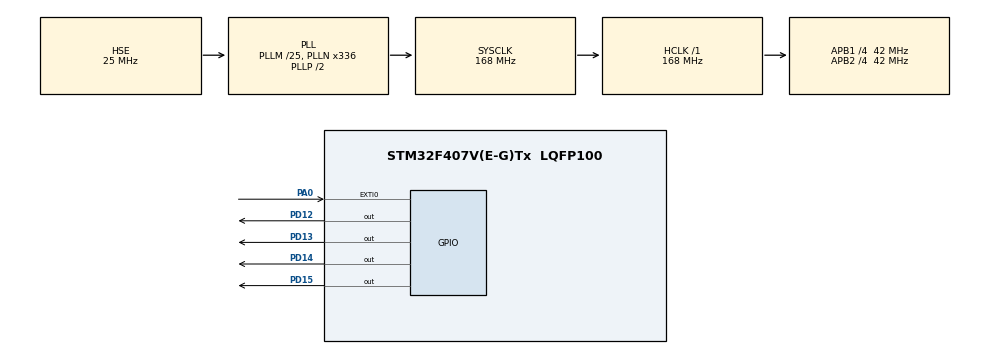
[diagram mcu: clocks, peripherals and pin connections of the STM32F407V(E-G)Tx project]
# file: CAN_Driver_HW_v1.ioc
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Mcu.Family=STM32F4
Mcu.Name=STM32F407V(E-G)Tx
Mcu.Package=LQFP100
NVIC.EXTI0_IRQn=true\:0\:1\:false\:false\:true\:true\:true
NVIC.PriorityGroup=NVIC_PRIORITYGROUP_0
PA0-WKUP.Signal=GPXTI0
PD12.Signal=GPIO_Output
PD13.Signal=GPIO_Output
PD14.Signal=GPIO_Output
PD15.Signal=GPIO_Output
PH0-OSC_IN.Mode=HSE-External-Oscillator
PH0-OSC_IN.Signal=RCC_OSC_IN
PH1-OSC_OUT.Mode=HSE-External-Oscillator
PH1-OSC_OUT.Signal=RCC_OSC_OUT
ProjectManager.HeapSize=0x200
ProjectManager.StackSize=0x400
ProjectManager.TargetToolchain=STM32CubeIDE
RCC.48MHZClocksFreq_Value=84000000
RCC.AHBFreq_Value=168000000
RCC.APB1CLKDivider=RCC_HCLK_DIV4
RCC.APB1Freq_Value=42000000
RCC.APB1TimFreq_Value=84000000
RCC.APB2CLKDivider=RCC_HCLK_DIV4
RCC.APB2Freq_Value=42000000
RCC.APB2TimFreq_Value=84000000
RCC.CortexFreq_Value=168000000
RCC.HCLKFreq_Value=168000000
RCC.HSE_VALUE=25000000
RCC.HSI_VALUE=16000000
RCC.LSE_VALUE=32768
RCC.PLLM=25
RCC.PLLN=336
RCC.PLLSourceVirtual=RCC_PLLSOURCE_HSE
RCC.SYSCLKFreq_VALUE=168000000
RCC.SYSCLKSource=RCC_SYSCLKSOURCE_PLLCLK
RCC.VCOOutputFreq_Value=336000000
board=custom

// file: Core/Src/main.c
/* USER CODE BEGIN Header */
/**
  ******************************************************************************
  * @file           : main.c
  * @brief          : Main program body
  ******************************************************************************
  * @attention
  *
  * <h2><center>&copy; Copyright (c) 2020 STMicroelectronics.
  * All rights reserved.</center></h2>
  *
  * This software component is licensed by ST under BSD 3-Clause license,
  * the "License"; You may not use this file except in compliance with the
  * License. You may obtain a copy of the License at:
  *                        opensource.org/licenses/BSD-3-Clause
  *
  ******************************************************************************
  */
/* USER CODE END Header */

#include "main.h"

/* USER CODE BEGIN Includes */
#include "CAN.h"
/* USER CODE END Includes */

/* USER CODE BEGIN PV */
void CAN1_RX0_IRQHandler (void);
/* USER CODE END PV */

void SystemClock_Config(void);
static void MX_GPIO_Init(void);

int main(void)
{

  /* MCU Configuration--------------------------------------------------------*/

  /* Reset of all peripherals, Initializes the Flash interface and the Systick. */
  HAL_Init();

  /* Configure the system clock */
  SystemClock_Config();

  /* USER CODE BEGIN SysInit */

  __NVIC_EnableIRQ(CAN1_RX0_IRQn);
  __NVIC_EnableIRQ(CAN1_TX_IRQn);

  /* USER CODE END SysInit */

  /* Initialize all configured peripherals */
  MX_GPIO_Init();
  /* USER CODE BEGIN 2 */
  setup (CAN_IER_FMPIE0);
  set_testmode (CAN_BTR_LBKM);
  start ();

  uint16_t id [3];
  id[0]= 0x239;
  id[1] = 0x241;
  id[2] = 240;
  id[2] = 0x245;
  uint8_t num_id = 3;
  uint32_t CAN_filterIdx = 1;
 if (config_bank_filter (&id, num_id,  CAN_filterIdx)) return -1;

  /* USER CODE END 2 */

  /* Infinite loop */
  while (1)
  {

  }
}

void SystemClock_Config(void)
{
  RCC_OscInitTypeDef RCC_OscInitStruct = {0};
  RCC_ClkInitTypeDef RCC_ClkInitStruct = {0};

  /** Configure the main internal regulator output voltage
  */
  __HAL_RCC_PWR_CLK_ENABLE();
  __HAL_PWR_VOLTAGESCALING_CONFIG(PWR_REGULATOR_VOLTAGE_SCALE1);
  /** Initializes the CPU, AHB and APB busses clocks
  */
  RCC_OscInitStruct.OscillatorType = RCC_OSCILLATORTYPE_HSE;
  RCC_OscInitStruct.HSEState = RCC_HSE_ON;
  RCC_OscInitStruct.PLL.PLLState = RCC_PLL_ON;
  RCC_OscInitStruct.PLL.PLLSource = RCC_PLLSOURCE_HSE;
  RCC_OscInitStruct.PLL.PLLM = 25;
  RCC_OscInitStruct.PLL.PLLN = 336;
  RCC_OscInitStruct.PLL.PLLP = RCC_PLLP_DIV2;
  RCC_OscInitStruct.PLL.PLLQ = 4;
  if (HAL_RCC_OscConfig(&RCC_OscInitStruct) != HAL_OK)
  {
    Error_Handler();
  }
  /** Initializes the CPU, AHB and APB busses clocks
  */
  RCC_ClkInitStruct.ClockType = RCC_CLOCKTYPE_HCLK|RCC_CLOCKTYPE_SYSCLK
                              |RCC_CLOCKTYPE_PCLK1|RCC_CLOCKTYPE_PCLK2;
  RCC_ClkInitStruct.SYSCLKSource = RCC_SYSCLKSOURCE_PLLCLK;
  RCC_ClkInitStruct.AHBCLKDivider = RCC_SYSCLK_DIV1;
  RCC_ClkInitStruct.APB1CLKDivider = RCC_HCLK_DIV4;
  RCC_ClkInitStruct.APB2CLKDivider = RCC_HCLK_DIV4;

  if (HAL_RCC_ClockConfig(&RCC_ClkInitStruct, FLASH_LATENCY_5) != HAL_OK)
  {
    Error_Handler();
  }
}

static void MX_GPIO_Init(void)
{
  GPIO_InitTypeDef GPIO_InitStruct = {0};

  /* GPIO Ports Clock Enable */
  __HAL_RCC_GPIOH_CLK_ENABLE();
  __HAL_RCC_GPIOA_CLK_ENABLE();
  __HAL_RCC_GPIOD_CLK_ENABLE();

  /*Configure GPIO pin Output Level */
  HAL_GPIO_WritePin(GPIOD, GPIO_PIN_12|GPIO_PIN_13|GPIO_PIN_14|GPIO_PIN_15, GPIO_PIN_RESET);

  /*Configure GPIO pin : PA0 */
  GPIO_InitStruct.Pin = GPIO_PIN_0;
  GPIO_InitStruct.Mode = GPIO_MODE_IT_RISING;
  GPIO_InitStruct.Pull = GPIO_NOPULL;
  HAL_GPIO_Init(GPIOA, &GPIO_InitStruct);

  /*Configure GPIO pins : PD12 PD13 PD14 PD15 */
  GPIO_InitStruct.Pin = GPIO_PIN_12|GPIO_PIN_13|GPIO_PIN_14|GPIO_PIN_15;
  GPIO_InitStruct.Mode = GPIO_MODE_OUTPUT_PP;
  GPIO_InitStruct.Pull = GPIO_NOPULL;
  GPIO_InitStruct.Speed = GPIO_SPEED_FREQ_LOW;
  HAL_GPIO_Init(GPIOD, &GPIO_InitStruct);

  /* EXTI interrupt init*/
  HAL_NVIC_SetPriority(EXTI0_IRQn, 0, 1);
  HAL_NVIC_EnableIRQ(EXTI0_IRQn);

}

/* USER CODE BEGIN 4 */

void CAN1_RX0_IRQHandler () {

	  CAN_msg msg;
	    if (CAN1->RF0R & CAN_RF0R_FMP0) {			      // message pending ?
	  	  if (!(frame_read (&msg))) return ;							// read the message
	  	  if (msg.data[0] =='1' ) HAL_GPIO_WritePin(GPIOD, GPIO_PIN_12, 1); else HAL_GPIO_WritePin(GPIOD, GPIO_PIN_12, 0);
	  	  if (msg.data[1] =='1' ) HAL_GPIO_WritePin(GPIOD, GPIO_PIN_13, 1); else HAL_GPIO_WritePin(GPIOD, GPIO_PIN_13, 0);

	    }

 }

void CAN1_TX_IRQHandler (void) {
    CAN1->IER &= ~CAN_IER_TMEIE;                   // disable  TME interrupt
   HAL_GPIO_WritePin(GPIOD, GPIO_PIN_14, 1);

}

/* USER CODE END 4 */

void Error_Handler(void)
{
}

/************************ (C) COPYRIGHT STMicroelectronics *****END OF FILE****/
